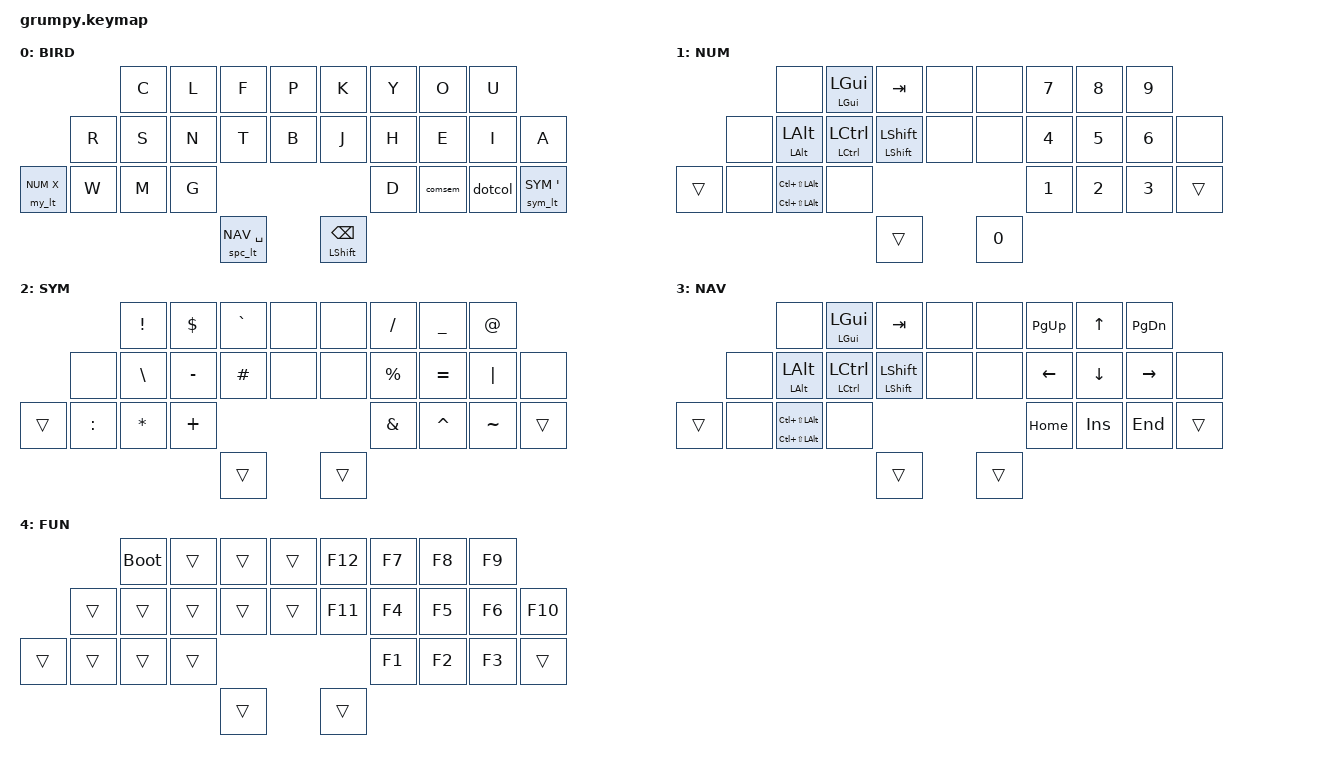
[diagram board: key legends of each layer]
#include <behaviors.dtsi>
#include <dt-bindings/zmk/keys.h>
#include <dt-bindings/zmk/bt.h>
#include <dt-bindings/zmk/outputs.h>

#define BIRD 0
#define NUM 1
#define SYM 2
#define NAV 3
#define FUN 4

&sk {
    release-after-ms = <5000>;
    lazy;
};

&caps_word {
    continue-list = <UNDERSCORE MINUS BSPC LSHFT RSHFT>;
};

/ {
    macros {
        macro_qu: macro_qu {
            label = "Macro_qu";
            compatible = "zmk,behavior-macro";
            #binding-cells = <0>;
            bindings = <
                &macro_tap &kp Q
                &macro_release &kp LSHIFT
                &macro_tap &kp U
            >;
        };
    };
};


/ {
    conditional_layers {
        compatible = "zmk,conditional-layers";
        tri_layer {
            if-layers = <1 2>;
            then-layer = <4>;
        };
    };
};

#define COMBO(NAME, BINDINGS, KEYPOS, TIMEOUT) \
combo_##NAME { \
    timeout-ms = <TIMEOUT>; \
    bindings = <BINDINGS>; \
    key-positions = <KEYPOS>; \
};

/ {
    combos {
        compatible = "zmk,combos";
/* usually on base layer */
        COMBO(z, &kp Z, 19 20, 35)
        COMBO(v, &kp V, 0 1, 35)
        COMBO(smart_qu, &smart_qu Q 0, 1 2, 35)
        COMBO(slash, &kp SLASH, 23 24, 35)
        COMBO(enter, &kp ENTER, 22 24, 35)
        COMBO(esc, &kp ESC, 19 10 21, 40)
        COMBO(tab, &kp TAB, 19 21, 35)
/* parentheticals */
        COMBO(lbrc, &kp LBRC, 0 9, 35)
        COMBO(lbkt, &kp LBKT, 1 10, 35)
        COMBO(lpar, &kp LPAR, 2 11, 35)
        COMBO(lt, &kp LT, 3 12, 35)
        COMBO(gt, &kp GT, 4 13, 35)
        COMBO(rpar, &kp RPAR, 5 14, 35)
        COMBO(rbkt, &kp RBKT, 6 15, 35)
        COMBO(rbrc, &kp RBRC, 7 16, 35)
/* caps */
        COMBO(capslock, &kp CAPSLOCK, 0 7, 50)
        COMBO(caps, &caps_word, 2 5, 50)
/* deletion */
        COMBO(del, &kp DEL, 6 7, 15)
        COMBO(delword, &kp LC(BSPC), 5 7, 35)
    };
};


/ {

    behaviors {
        my_lt: my_layer_taps {
            compatible = "zmk,behavior-hold-tap";
            #binding-cells = <2>;
            flavor = "balanced";
            tapping-term-ms = <150>;
            quick-tap-ms = <100>;
            retro-tap;
            bindings = <&mo &kp>, <&kp>;
        };

        spc_lt: space_layer_tap {
            compatible = "zmk,behavior-hold-tap";
            #binding-cells = <2>;
            flavor = "tap-preferred";
            tapping-term-ms = <175>;
            quick-tap-ms = <100>;
            retro-tap;
            bindings = <&mo &kp>, <&kp>;
        };

        sym_lt: symbol_sticky_layer_tap {
            compatible = "zmk,behavior-hold-tap";
            #binding-cells = <2>;
            flavor = "balanced";
            tapping-term-ms = <150>;
            quick-tap-ms = <100>;
            bindings = <&sl &kp>, <&kp>;
        };

        smart_qu: smart_qu_hold_tap {
            compatible = "zmk,behavior-hold-tap";
            #binding-cells = <2>;
            flavor = "tap-preferred";
            tapping-term-ms = <150>;
            quick-tap-ms = <200>;
            bindings = <&kp>, <&macro_qu>;
        };

        isk: intuitive_sk {
            compatible = "zmk,behavior-hold-tap";
            #binding-cells = <2>;
            retro-tap;
            flavor = "hold-preferred";
            tapping-term-ms = <200>;
            bindings = <&kp>, <&sk>;
        };

        shift_bp: shift_bp_hold_tap {
            compatible = "zmk,behavior-hold-tap";
            #binding-cells = <2>;
            flavor = "hold-preferred";
            tapping-term-ms = <200>;
            quick-tap-ms = <300>;
            bindings = <&kp>, <&kp>;
        };
//   ____________________________  ____________________________
//  /       0  |  1  |  2  |  3  \/   4 |   5 |   6 |   7      \
// |  8  |  9  | 10  | 11  | 12  /\  13 |  14 |  15 |  16 | 17  |
// | 18  | 19  | 20  | 21       /  \       22 |  23 |  24 | 25  |
//                      \  26  /    \  27  /
//                       ------      ------


        dotcol: dot_colon {
            compatible = "zmk,behavior-mod-morph";
            label = "DOT_COL";
            #binding-cells = <0>;
            bindings = <&kp DOT>, <&kp COLON>;
            mods = <(MOD_LSFT|MOD_RSFT)>;
        };
        comsem: comma_semicolon {
            compatible = "zmk,behavior-mod-morph";
            label = "COM_SEM";
            #binding-cells = <0>;
            bindings = <&kp COMMA>, <&kp SEMI>;
            mods = <(MOD_LSFT|MOD_RSFT)>;
        };
    };
};


//   ____________________________  ____________________________
//  /       0  |  1  |  2  |  3  \/   4 |   5 |   6 |   7      \
// |  8  |  9  | 10  | 11  | 12  /\  13 |  14 |  15 |  16 | 17  |
// | 19  | 19  | 20  | 21       /  \       22 |  23 |  24 | 25  |
//                      \  26  /    \  27  /
//                       ------      ------

/ {

    keymap {
        compatible = "zmk,keymap";

        bird {
            label = "BIRD";

            bindings = <
                        &kp C   &kp L   &kp F   &kp P      &kp K   &kp Y   &kp O   &kp U
                &kp R   &kp S   &kp N   &kp T   &kp B      &kp J   &kp H   &kp E   &kp I   &kp A
           &my_lt NUM X &kp W   &kp M   &kp G                      &kp D   &comsem &dotcol &sym_lt SYM SQT
                                        &spc_lt NAV SPACE &shift_bp LSHIFT BSPC
            >;
        };
        numbers {
            label = "NUM";

            bindings = <
                        &none                 &isk LGUI LGUI     &kp TAB     &none           &none    &kp N7   &kp N8   &kp N9
                &none   &isk LALT LALT   &isk LCTRL LCTRL   &isk LSHIFT LSHFT      &none    &none   &kp N4   &kp N5   &kp N6   &none
                &trans  &none           &isk LC(LS(LALT)) LC(LS(LALT)) &none                                  &kp N1   &kp N2   &kp N3   &trans
                                                                         &trans                      &kp N0
            >;
        };
        symbols {
            label = "SYM";

            bindings = <
                        &kp EXCL   &kp DLLR    &kp GRAVE   &none      &none   &kp FSLH    &kp UNDER   &kp AT
                &none   &kp BSLH   &kp MINUS   &kp HASH    &none      &none   &kp PRCNT   &kp EQUAL   &kp PIPE   &none
                &trans  &kp COLON  &kp STAR    &kp PLUS                       &kp AMPS    &kp CARET   &kp TILDE  &trans
                                                        &trans       &trans
            >;
        };
        navigation {
            label = "NAV";

            bindings = <
                        &none     &isk LGUI LGUI     &kp TAB     &none      &none   &kp PG_UP   &kp UP     &kp PG_DN
                &none   &isk LALT LALT  &isk LCTRL LCTRL    &isk LSHFT LSHFT   &none      &none   &kp LEFT    &kp DOWN   &kp RIGHT   &none
                &trans  &none &isk LC(LS(LALT)) LC(LS(LALT)) &none                          &kp HOME    &kp INS    &kp END     &trans
                                                       &trans         &trans
            >;
        };
        function {
            label = "FUN";

            bindings = <
                               &bootloader    &trans         &trans         &trans         &kp F12        &kp F7         &kp F8         &kp F9
                &trans         &trans         &trans         &trans         &trans         &kp F11        &kp F4         &kp F5         &kp F6         &kp F10
                &trans         &trans         &trans         &trans                                       &kp F1         &kp F2         &kp F3         &trans
                                                                            &trans         &trans
            >;
        };

    };
};
